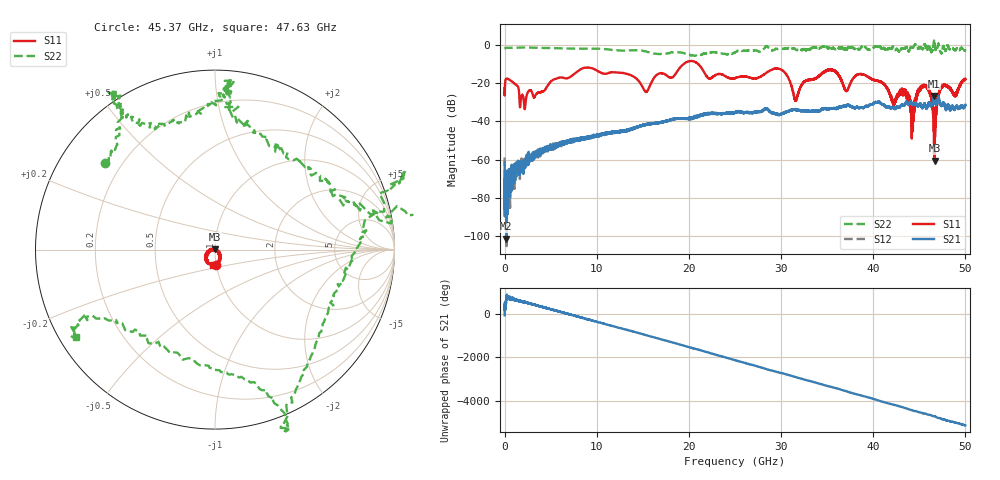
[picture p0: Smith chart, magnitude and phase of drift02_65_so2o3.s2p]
!Created with skrf (http://scikit-rf.org).
# Hz S RI R 50.0
!freq ReS11 ImS11 ReS21 ImS21 ReS12 ImS12 ReS22 ImS22
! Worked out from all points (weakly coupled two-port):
!   10001 points, 300 kHz to 50 GHz, reference 50 ohm
!   highest |S21| = -26.64 dB at 46.6 GHz (marker M1); lowest = -101.3 dB at 175.3 MHz (marker M2)
!   lowest |S11| = -60.5 dB at 46.65 GHz (marker M3), VSWR 1.00, Z = 50.1 + j0.0632 ohm
!   |S11| at or under -10 dB: start of sweep to 19.42 GHz; 21.00433 GHz to 21.00662 GHz (2.296 MHz wide, 0.0109 % of centre); 21.01 GHz to end of sweep
!   |S22| runs from -5.7 to 2.4 dB; largest |S21 - S12| = 0.0035
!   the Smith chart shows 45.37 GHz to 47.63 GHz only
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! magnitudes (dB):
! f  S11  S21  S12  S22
! 300 kHz  -22.6  -61.4  -58.9  -2.1
! 175.3 MHz  -17.7  -101.3  -88.8  -1.4
! 2.185 GHz  -33.5  -61.0  -63.0  -1.3
! 8.335 GHz  -12.5  -48.7  -49.5  -1.9
! 15.34 GHz  -24.6  -41.8  -41.7  -3.4
! 16.67 GHz  -15.1  -40.6  -41.0  -4.7
! 20.3 GHz  -8.4  -38.1  -38.5  -5.6
! 25 GHz  -17.4  -35.5  -35.5  -3.9
! 29.85 GHz  -12.6  -36.4  -36.5  -2.0
! 31.59 GHz  -28.9  -33.7  -34.0  -2.4
! 33.34 GHz  -18.0  -34.6  -34.5  -1.6
! 35.59 GHz  -13.5  -33.2  -33.3  -1.6
! 37.1 GHz  -24.1  -31.7  -31.8  -2.0
! 38.77 GHz  -15.3  -32.7  -32.6  -1.0
! 41.67 GHz  -24.2  -32.1  -32.2  -1.9
! 43.43 GHz  -24.4  -31.2  -31.0  -1.9
! 44.25 GHz  -35.1  -31.1  -31.2  -1.4
! 45.72 GHz  -21.4  -32.6  -32.5  -0.9
! 46.6 GHz  -41.7  -26.6  -27.0  1.9
! 46.65 GHz  -60.5  -27.8  -28.1  0.7
! 47.47 GHz  -21.6  -31.5  -31.7  -3.3
! 50 GHz  -17.9  -31.3  -31.5  -2.8
